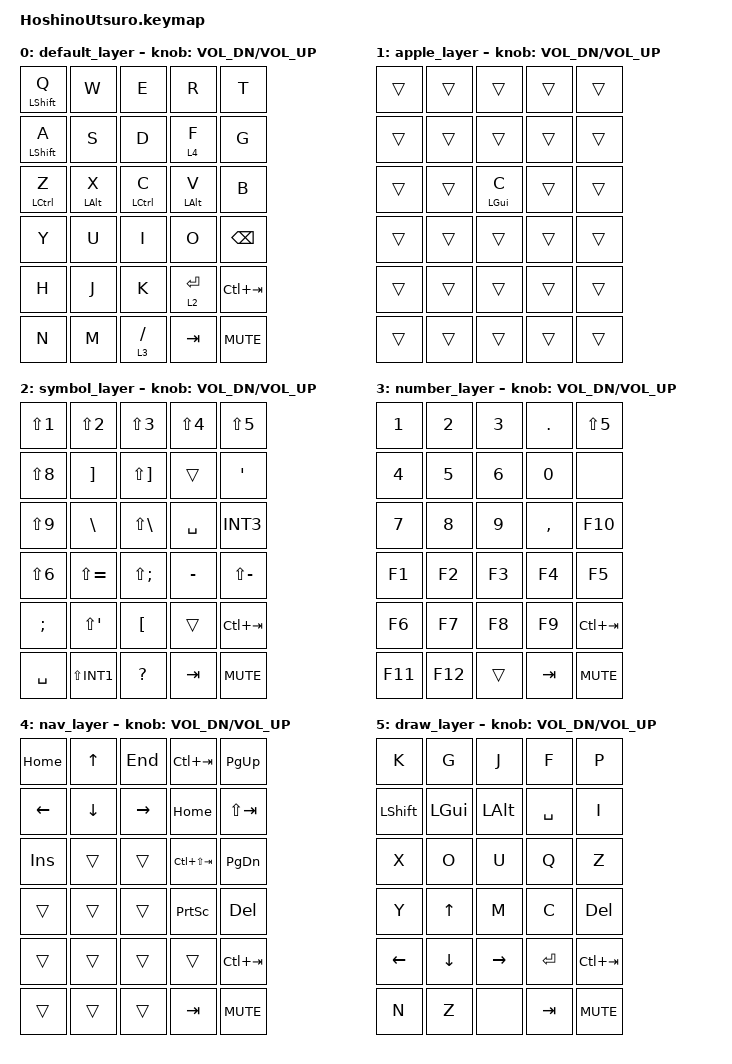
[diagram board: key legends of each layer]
/*
 * HoshinoUtsuro fixed base
 *
 * Physical thumb keys:
 *
 * LThumb = 現在単独で LALT を送っていたキー
 *        = key-position 28
 *        = 現在は TAB
 *
 * RThumb = 現在単独で LGUI を送っていたキー
 *        = key-position 24
 *        = 現在は Ctrl+Tab
 *
 * Encoder push = C_MUTE
 *        = key-position 29
 *        = 親指キーではない
 *
 * BLE / OS mode:
 * BLE0 / Windows  : C hold = LCTRL
 * BLE1 / iPad     : C hold = LGUI + Draw mode default
 * BLE2 / iPhone   : C hold = LGUI
 * BLE3 / MacBook  : C hold = LGUI
 * BLE4 / Default  : C hold = LCTRL
 *
 * Deep sleep restore:
 * Saved BLE profile is restored by profile_layer_restore.c.
 * If saved profile is BLE1, Apple layer + Draw layer are restored automatically.
 *
 * Pointing combo test:
 * ZX = Alt + Left Click hold
 * XC = Alt + Right Click hold
 * ZC = Alt + Middle Click hold
 */

#include <behaviors.dtsi>
#include <dt-bindings/zmk/keys.h>
#include <dt-bindings/zmk/bt.h>
#include <dt-bindings/zmk/pointing.h>

/ {
  behaviors {
    modtap_hp: modtap_hp {
      compatible = "zmk,behavior-hold-tap";
      #binding-cells = <2>;
      flavor = "tap-preferred";
      tapping-term-ms = <120>;
      quick-tap-ms = <0>;
      bindings = <&kp>, <&kp>;
    };

    z_ctrl_hold: z_ctrl_hold {
      compatible = "zmk,behavior-hold-tap";
      #binding-cells = <2>;
      flavor = "tap-preferred";
      tapping-term-ms = <200>;
      quick-tap-ms = <0>;
      bindings = <&kp>, <&kp>;
    };

    a_shift_hold: a_shift_hold {
      compatible = "zmk,behavior-hold-tap";
      #binding-cells = <2>;
      flavor = "tap-preferred";
      tapping-term-ms = <200>;
      quick-tap-ms = <0>;
      bindings = <&kp>, <&kp>;
    };

    f_nav_hold: f_nav_hold {
      compatible = "zmk,behavior-hold-tap";
      #binding-cells = <2>;
      flavor = "balanced";
      tapping-term-ms = <200>;
      hold-trigger-key-positions = <0 1 2 3 4 5 6 7 9 10 11 12 13 14 15 16 17 18 19 20 21 22 23 24 25 26 27 28 29>;
      hold-trigger-on-release;
      bindings = <&mo>, <&kp>;
    };

    l_sym_hold: l_sym_hold {
      compatible = "zmk,behavior-hold-tap";
      #binding-cells = <2>;
      flavor = "balanced";
      tapping-term-ms = <200>;
      hold-trigger-key-positions = <0 1 2 3 4 5 6 7 8 9 10 11 12 13 14 15 16 17 18 19 20 21 22 24 25 26 27 28 29>;
      hold-trigger-on-release;
      bindings = <&mo>, <&kp>;
    };

    slash_num_hold: slash_num_hold {
      compatible = "zmk,behavior-hold-tap";
      #binding-cells = <2>;
      flavor = "balanced";
      tapping-term-ms = <200>;
      hold-trigger-on-release;
      bindings = <&mo>, <&kp>;
    };

    /*
     * Draw layerを現在のBase layerの上に
     * 明示的にON/OFFする。
     */
    draw_on: draw_on {
      compatible = "zmk,behavior-toggle-layer";
      #binding-cells = <1>;
      toggle-mode = "on";
    };

    draw_off: draw_off {
      compatible = "zmk,behavior-toggle-layer";
      #binding-cells = <1>;
      toggle-mode = "off";
    };

    /*
     * BLE0 = Windows
     * C hold = CTRL
     */
    bt0_default: bt0_default {
      compatible = "zmk,behavior-macro";
      #binding-cells = <0>;
      wait-ms = <0>;
      tap-ms = <0>;
      bindings =
        <&bt BT_SEL 0>,
        <&to 0>;
    };

    /*
     * BLE1 = iPad
     * Apple base + Draw mode
     */
    bt1_draw: bt1_draw {
      compatible = "zmk,behavior-macro";
      #binding-cells = <0>;
      wait-ms = <0>;
      tap-ms = <0>;
      bindings =
        <&bt BT_SEL 1>,
        <&to 1>,
        <&draw_on 5>;
    };

    /*
     * BLE2 = iPhone
     * Apple base
     */
    bt2_default: bt2_default {
      compatible = "zmk,behavior-macro";
      #binding-cells = <0>;
      wait-ms = <0>;
      tap-ms = <0>;
      bindings =
        <&bt BT_SEL 2>,
        <&to 1>;
    };

    /*
     * BLE3 = MacBook
     * Apple base
     */
    bt3_default: bt3_default {
      compatible = "zmk,behavior-macro";
      #binding-cells = <0>;
      wait-ms = <0>;
      tap-ms = <0>;
      bindings =
        <&bt BT_SEL 3>,
        <&to 1>;
    };

    /*
     * BLE4 = Default
     * C hold = CTRL
     */
    bt4_default: bt4_default {
      compatible = "zmk,behavior-macro";
      #binding-cells = <0>;
      wait-ms = <0>;
      tap-ms = <0>;
      bindings =
        <&bt BT_SEL 4>,
        <&to 0>;
    };

    /*
     * GHB
     * 現在のOS/Base layerを保持したままDraw ON
     */
    draw_mode_led: draw_mode_led {
      compatible = "zmk,behavior-macro";
      #binding-cells = <0>;
      wait-ms = <0>;
      tap-ms = <0>;
      bindings =
        <&bat_led 2>,
        <&draw_on 5>;
    };

    /*
     * GHN
     * DrawだけOFF。
     * 下のWindows / Apple layerは維持。
     */
    default_mode_led: default_mode_led {
      compatible = "zmk,behavior-macro";
      #binding-cells = <0>;
      wait-ms = <0>;
      tap-ms = <0>;
      bindings =
        <&bat_led 3>,
        <&draw_off 5>;
    };

    kana_led: kana_led {
      compatible = "zmk,behavior-macro";
      #binding-cells = <0>;
      wait-ms = <0>;
      tap-ms = <0>;
      bindings =
        <&bat_led 4>,
        <&kp LANG1>;
    };

    eisu_led: eisu_led {
      compatible = "zmk,behavior-macro";
      #binding-cells = <0>;
      wait-ms = <0>;
      tap-ms = <0>;
      bindings =
        <&bat_led 5>,
        <&kp LANG2>;
    };

    alt_left_click: alt_left_click {
      compatible = "zmk,behavior-macro";
      #binding-cells = <0>;
      wait-ms = <0>;
      tap-ms = <0>;
      bindings =
        <&macro_press &kp LALT>,
        <&macro_press &mkp LCLK>,
        <&macro_pause_for_release>,
        <&macro_release &mkp LCLK>,
        <&macro_release &kp LALT>;
    };

    alt_right_click: alt_right_click {
      compatible = "zmk,behavior-macro";
      #binding-cells = <0>;
      wait-ms = <0>;
      tap-ms = <0>;
      bindings =
        <&macro_press &kp LALT>,
        <&macro_press &mkp RCLK>,
        <&macro_pause_for_release>,
        <&macro_release &mkp RCLK>,
        <&macro_release &kp LALT>;
    };

    alt_middle_click: alt_middle_click {
      compatible = "zmk,behavior-macro";
      #binding-cells = <0>;
      wait-ms = <0>;
      tap-ms = <0>;
      bindings =
        <&macro_press &kp LALT>,
        <&macro_press &mkp MCLK>,
        <&macro_pause_for_release>,
        <&macro_release &mkp MCLK>,
        <&macro_release &kp LALT>;
    };
  };


  combos {
    compatible = "zmk,combos";

    combo_op_p {
      timeout-ms = <40>;
      layers = <0 1>;
      key-positions = <18 19>;
      bindings = <&kp P>;
    };

    combo_kl_l {
      timeout-ms = <40>;
      layers = <0 1>;
      key-positions = <22 23>;
      bindings = <&kp L>;
    };

    combo_lo_minus {
      timeout-ms = <40>;
      layers = <0 1>;
      key-positions = <23 18>;
      bindings = <&kp MINUS>;
    };


    /*
     * F + J = Space
     */
    combo_fj_space {
      timeout-ms = <40>;
      layers = <0 1>;
      key-positions = <8 21>;
      bindings = <&kp SPACE>;
    };


    /*
     * J + K = Space
     */
    combo_jk_space {
      timeout-ms = <40>;
      layers = <0 1>;
      key-positions = <21 22>;
      bindings = <&kp SPACE>;
    };


    combo_nm_comma {
      timeout-ms = <40>;
      layers = <0 1>;
      key-positions = <25 26>;
      bindings = <&kp COMMA>;
    };

    combo_mslash_dot {
      timeout-ms = <40>;
      layers = <0 1>;
      key-positions = <26 27>;
      bindings = <&kp DOT>;
    };

    /*
     * Normal / Apple
     * Q + W = Escape
     */
    combo_qw_esc {
      timeout-ms = <40>;
      layers = <0 1>;
      key-positions = <0 1>;
      bindings = <&kp ESC>;
    };

    combo_as_tab {
      timeout-ms = <40>;
      layers = <0 1>;
      key-positions = <5 6>;
      bindings = <&kp TAB>;
    };


    combo_pl_ctrl {
      timeout-ms = <40>;
      layers = <0 1>;
      key-positions = <19 23>;
      bindings = <&kp LCTRL>;
    };

    combo_lslash_alt {
      timeout-ms = <40>;
      layers = <0 1>;
      key-positions = <23 27>;
      bindings = <&kp LALT>;
    };

    combo_pslash_gui {
      timeout-ms = <40>;
      layers = <0 1>;
      key-positions = <19 27>;
      bindings = <&kp LGUI>;
    };


    /*
     * U + I = 英数
     *
     * Normal / Apple layerでのみ有効。
     * Draw layerでは無効。
     *
     * 文章入力中の誤爆防止:
     * 直前150ms以内に通常キー入力があれば発動しない。
     */
    combo_ui_eisu {
      timeout-ms = <35>;
      require-prior-idle-ms = <150>;
      layers = <0 1>;
      key-positions = <16 17>;
      bindings = <&eisu_led>;
    };


    /*
     * E + R = かな
     *
     * Normal / Apple layerでのみ有効。
     * Draw layerでは無効。
     *
     * Draw layerでは同じE+R位置を
     * Enterとして使用するため明示的に分離。
     */
    combo_er_kana {
      timeout-ms = <35>;
      require-prior-idle-ms = <150>;
      layers = <0 1>;
      key-positions = <2 3>;
      bindings = <&kana_led>;
    };


    combo_zx_alt_left_click {
      timeout-ms = <40>;
      layers = <0 1>;
      key-positions = <10 11>;
      bindings = <&alt_left_click>;
    };

    combo_xc_alt_right_click {
      timeout-ms = <40>;
      layers = <0 1>;
      key-positions = <11 12>;
      bindings = <&alt_right_click>;
    };

    combo_zc_alt_middle_click {
      timeout-ms = <40>;
      layers = <0 1>;
      key-positions = <10 12>;
      bindings = <&alt_middle_click>;
    };


    /*
     * Vキー起点 数字・小数点コンボ
     */

    combo_vq_1 {
      timeout-ms = <40>;
      layers = <0 1>;
      key-positions = <13 0>;
      bindings = <&kp N1>;
    };

    combo_vw_2 {
      timeout-ms = <40>;
      layers = <0 1>;
      key-positions = <13 1>;
      bindings = <&kp N2>;
    };

    combo_ve_3 {
      timeout-ms = <40>;
      layers = <0 1>;
      key-positions = <13 2>;
      bindings = <&kp N3>;
    };

    combo_vr_dot {
      timeout-ms = <40>;
      layers = <0 1>;
      key-positions = <13 3>;
      bindings = <&kp DOT>;
    };

    combo_va_4 {
      timeout-ms = <40>;
      layers = <0 1>;
      key-positions = <13 5>;
      bindings = <&kp N4>;
    };

    combo_vs_5 {
      timeout-ms = <40>;
      layers = <0 1>;
      key-positions = <13 6>;
      bindings = <&kp N5>;
    };

    combo_vd_6 {
      timeout-ms = <40>;
      layers = <0 1>;
      key-positions = <13 7>;
      bindings = <&kp N6>;
    };

    combo_vf_0 {
      timeout-ms = <40>;
      layers = <0 1>;
      key-positions = <13 8>;
      bindings = <&kp N0>;
    };

    combo_vz_7 {
      timeout-ms = <40>;
      layers = <0 1>;
      key-positions = <13 10>;
      bindings = <&kp N7>;
    };

    combo_vx_8 {
      timeout-ms = <40>;
      layers = <0 1>;
      key-positions = <13 11>;
      bindings = <&kp N8>;
    };

    combo_vc_9 {
      timeout-ms = <40>;
      layers = <0 1>;
      key-positions = <13 12>;
      bindings = <&kp N9>;
    };


    /*
     * BLE switching
     */

    /*
     * GHP = BLE0 Windows
     */
    combo_ghp_bt0 {
      timeout-ms = <50>;
      layers = <0 1 2 3 4 5>;
      key-positions = <9 20 19>;
      bindings = <&bt0_default>;
    };


    /*
     * GHL = BLE1 iPad + Draw
     */
    combo_ghl_bt1 {
      timeout-ms = <50>;
      layers = <0 1 2 3 4 5>;
      key-positions = <9 20 23>;
      bindings = <&bt1_draw>;
    };


    /*
     * GHSlash = BLE2 iPhone
     */
    combo_ghslash_bt2 {
      timeout-ms = <50>;
      layers = <0 1 2 3 4 5>;
      key-positions = <9 20 27>;
      bindings = <&bt2_default>;
    };


    /*
     * GHO = BLE3 MacBook
     */
    combo_gho_bt3 {
      timeout-ms = <50>;
      layers = <0 1 2 3 4 5>;
      key-positions = <9 20 18>;
      bindings = <&bt3_default>;
    };


    /*
     * GHM = BLE4 Default
     */
    combo_ghm_bt4 {
      timeout-ms = <50>;
      layers = <0 1 2 3 4 5>;
      key-positions = <9 20 26>;
      bindings = <&bt4_default>;
    };


    /*
     * GHQ = BLE clear
     */
    combo_ghq_btclr {
      timeout-ms = <50>;
      layers = <0 1 2 3 4 5>;
      key-positions = <9 20 0>;
      bindings = <&bt BT_CLR>;
    };


    /*
     * GHV = Battery LED
     */
    combo_ghv_battery_led {
      timeout-ms = <60>;
      layers = <0 1 2 3 4 5>;
      key-positions = <9 20 13>;
      bindings = <&bat_led 0>;
    };


    /*
     * GHC = LED check
     */
    combo_ghc_led_check {
      timeout-ms = <60>;
      layers = <0 1 2 3 4 5>;
      key-positions = <9 20 12>;
      bindings = <&bat_led 1>;
    };


    /*
     * GHB = Draw ON
     */
    combo_ghb_draw {
      timeout-ms = <60>;
      layers = <0 1 2 3 4 5>;
      key-positions = <9 20 14>;
      bindings = <&draw_mode_led>;
    };


    /*
     * GHN = Draw OFF
     */
    combo_ghn_default {
      timeout-ms = <60>;
      layers = <0 1 2 3 4 5>;
      key-positions = <9 20 25>;
      bindings = <&default_mode_led>;
    };


    /*
     * Draw layer専用コンボ
     */

    /*
     * Draw:
     * Q + W = Escape
     */
    combo_draw_qw_esc {
      timeout-ms = <40>;
      layers = <5>;
      key-positions = <0 1>;
      bindings = <&kp ESC>;
    };


    /*
     * Draw:
     * E + R = Enter
     */
    combo_draw_er_enter {
      timeout-ms = <40>;
      layers = <5>;
      key-positions = <2 3>;
      bindings = <&kp ENTER>;
    };


    /*
     * Draw:
     * Z + X = B
     */
    combo_draw_zx_b {
      timeout-ms = <40>;
      layers = <5>;
      key-positions = <10 11>;
      bindings = <&kp B>;
    };


    /*
     * Draw:
     * C + V = C
     */
    combo_draw_cv_c {
      timeout-ms = <40>;
      layers = <5>;
      key-positions = <12 13>;
      bindings = <&kp C>;
    };
  };


  keymap {
    compatible = "zmk,keymap";


    /*
     * Layer 0
     *
     * Default / Windows
     *
     * C:
     * tap  = C
     * hold = CTRL
     */
    default_layer {
      bindings = <
        &modtap_hp LSHIFT Q          &kp W                     &kp E                  &kp R                 &kp T
        &a_shift_hold LSHIFT A       &kp S                     &kp D                  &f_nav_hold 4 F       &kp G
        &z_ctrl_hold LCTRL Z         &modtap_hp LALT X         &modtap_hp LCTRL C     &modtap_hp LALT V     &kp B
        &kp Y                        &kp U                     &kp I                  &kp O                 &kp BSPC
        &kp H                        &kp J                     &kp K                  &l_sym_hold 2 ENTER   &kp LC(TAB)
        &kp N                        &kp M                     &slash_num_hold 3 FSLH &kp TAB               &kp C_MUTE
      >;

      sensor-bindings = <&inc_dec_kp C_VOL_DN C_VOL_UP>;
    };


    /*
     * Layer 1
     *
     * Apple mode
     *
     * BLE1 iPad
     * BLE2 iPhone
     * BLE3 MacBook
     *
     * C位置のみ上書き。
     *
     * C:
     * tap  = C
     * hold = GUI
     *
     * 他キーはdefault_layerへ透過。
     */
    apple_layer {
      bindings = <
        &trans                     &trans                     &trans                 &trans                &trans
        &trans                     &trans                     &trans                 &trans                &trans
        &trans                     &trans                     &modtap_hp LGUI C      &trans                &trans
        &trans                     &trans                     &trans                 &trans                &trans
        &trans                     &trans                     &trans                 &trans                &trans
        &trans                     &trans                     &trans                 &trans                &trans
      >;

      sensor-bindings = <&inc_dec_kp C_VOL_DN C_VOL_UP>;
    };


    /*
     * Layer 2
     * Symbol
     *
     * M位置:
     * Shift + INT1 = JIS _
     */
    symbol_layer {
      bindings = <
        &kp LS(N1)                   &kp LS(N2)                &kp LS(N3)             &kp LS(N4)            &kp LS(N5)
        &kp LS(N8)                   &kp RBKT                  &kp LS(RBKT)           &trans                &kp APOS
        &kp LS(N9)                   &kp BSLH                  &kp LS(BSLH)           &kp SPACE             &kp INT3
        &kp LS(N6)                   &kp LS(EQUAL)             &kp LS(SEMI)           &kp MINUS             &kp LS(MINUS)
        &kp SEMI                     &kp LS(APOS)              &kp LBKT               &trans                &kp LC(TAB)
        &kp SPACE                    &kp LS(INT1)              &kp QMARK              &kp TAB               &kp C_MUTE
      >;

      sensor-bindings = <&inc_dec_kp C_VOL_DN C_VOL_UP>;
    };


    /*
     * Layer 3
     * Number
     */
    number_layer {
      bindings = <
        &kp N1                       &kp N2                    &kp N3                 &kp DOT               &kp LS(N5)
        &kp N4                       &kp N5                    &kp N6                 &kp N0                &none
        &kp N7                       &kp N8                    &kp N9                 &kp COMMA             &kp F10
        &kp F1                       &kp F2                    &kp F3                 &kp F4                &kp F5
        &kp F6                       &kp F7                    &kp F8                 &kp F9                &kp LC(TAB)
        &kp F11                      &kp F12                   &trans                 &kp TAB               &kp C_MUTE
      >;

      sensor-bindings = <&inc_dec_kp C_VOL_DN C_VOL_UP>;
    };


    /*
     * Layer 4
     * Navigation
     */
    nav_layer {
      bindings = <
        &kp HOME                     &kp UP                    &kp END                &kp LC(TAB)           &kp PG_UP
        &kp LEFT                     &kp DOWN                  &kp RIGHT              &kp HOME              &kp LS(TAB)
        &kp INS                      &trans                    &trans                 &kp LC(LS(TAB))       &kp PG_DN
        &trans                       &trans                    &trans                 &kp PSCRN             &kp DEL
        &trans                       &trans                    &trans                 &trans                &kp LC(TAB)
        &trans                       &trans                    &trans                 &kp TAB               &kp C_MUTE
      >;

      sensor-bindings = <&inc_dec_kp C_VOL_DN C_VOL_UP>;
    };


    /*
     * Layer 5
     * Draw
     *
     * BLE1 / iPadではデフォルトで有効。
     * Deep Sleep復帰後もprofile_layer_restore.cが
     * Apple layer + Draw layerを再構成する。
     */
    draw_layer {
      bindings = <
        &kp K                        &kp G                     &kp J                  &kp F                 &kp P
        &kp LSHIFT                   &kp LGUI                  &kp LALT               &kp SPACE             &kp I
        &kp X                        &kp O                     &kp U                  &kp Q                 &kp Z
        &kp Y                        &kp UP                    &kp M                  &kp C                 &kp DEL
        &kp LEFT                     &kp DOWN                  &kp RIGHT              &kp ENTER             &kp LC(TAB)
        &kp N                        &kp Z                     &none                  &kp TAB               &kp C_MUTE
      >;

      sensor-bindings = <&inc_dec_kp C_VOL_DN C_VOL_UP>;
    };
  };
};
